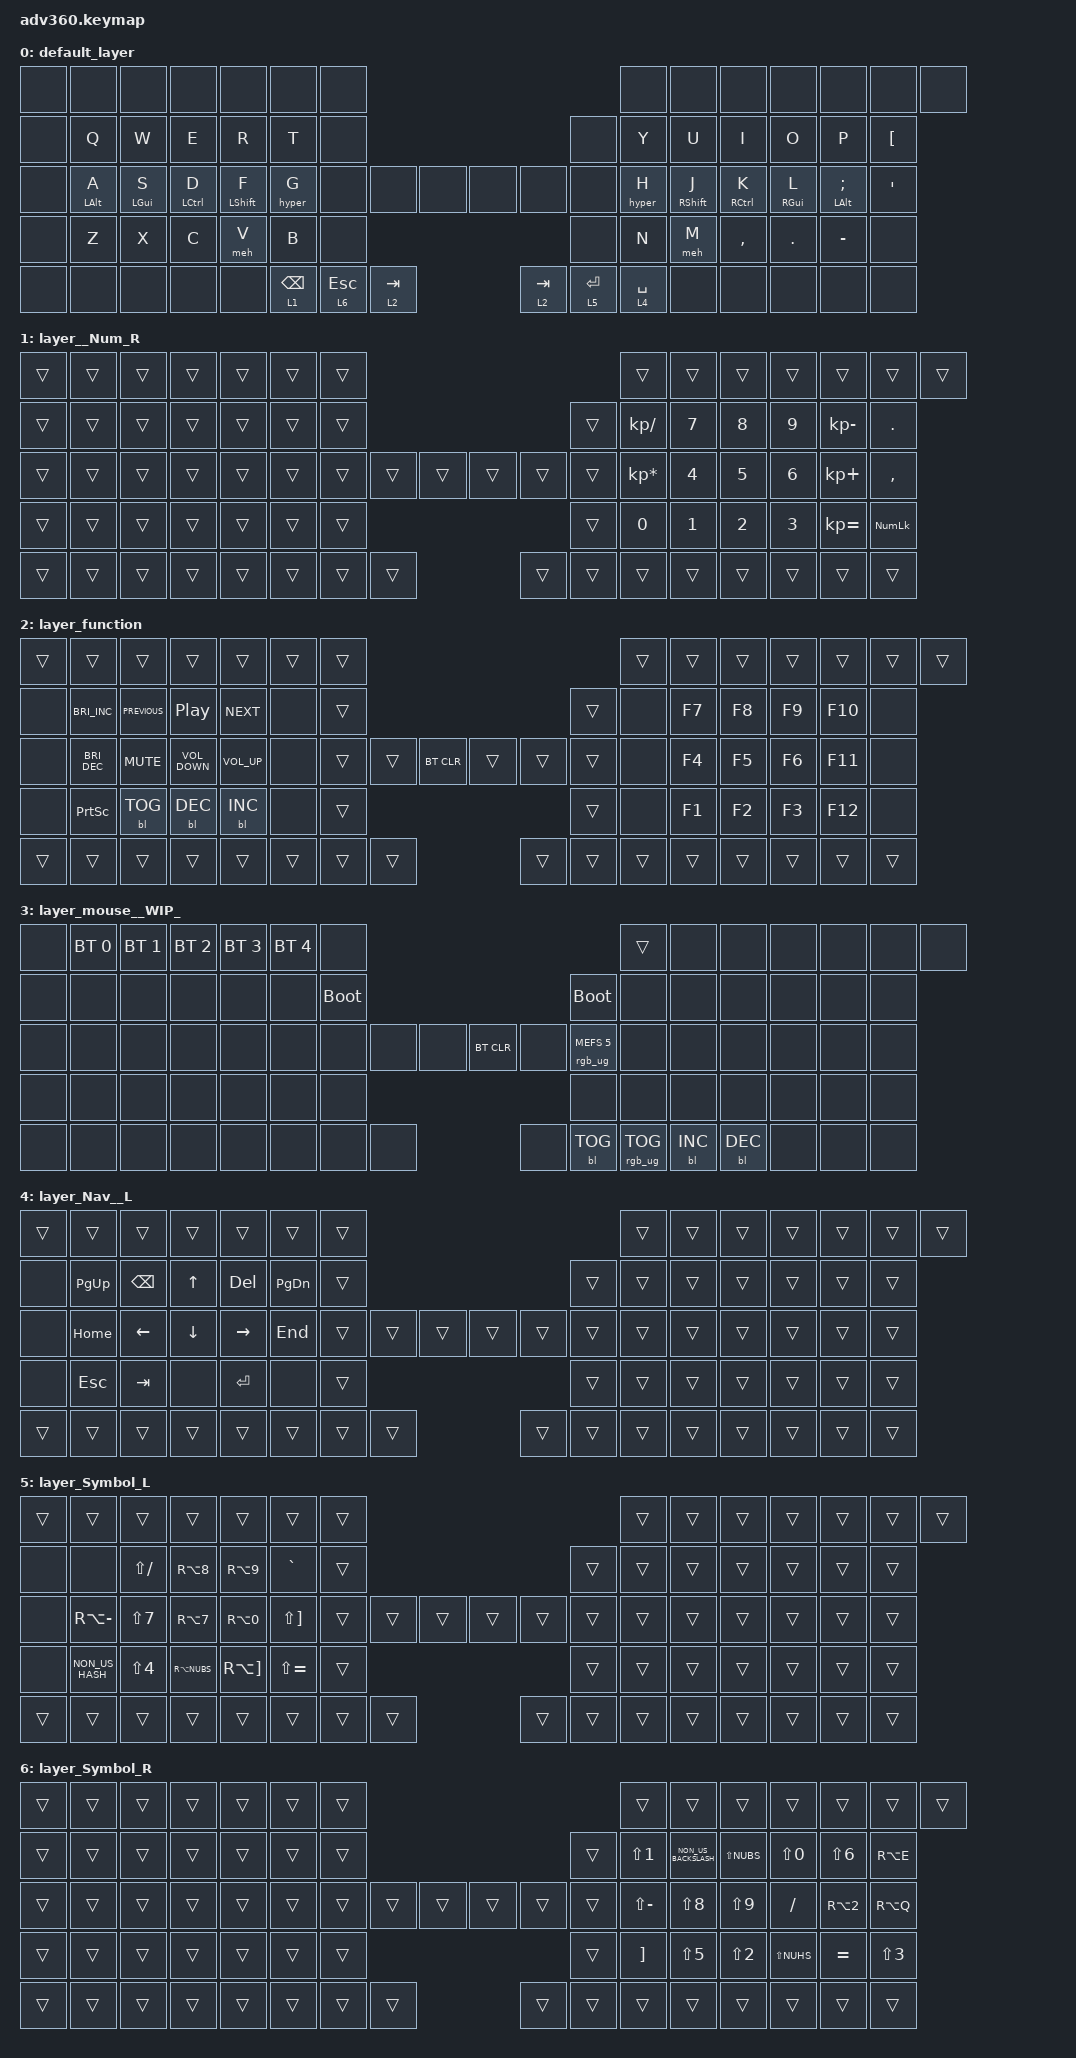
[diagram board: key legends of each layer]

/*
 * Copyright (c) 2020 The ZMK Contributors
 *
 * SPDX-License-Identifier: MIT
 */


/* THIS FILE WAS GENERATED!
 *
 * This file was generated automatically. You may or may not want to
 * edit it directly.
 */

#include <behaviors.dtsi>
#include <dt-bindings/zmk/keys.h>
#include <dt-bindings/zmk/bt.h>
#include <dt-bindings/zmk/backlight.h>
#include <dt-bindings/zmk/rgb.h>

#define hyper (LA(LC(LS(LEFT_GUI))))
#define meh (LA(LC(LEFT_SHIFT)))

&lt {
    tapping-term-ms = <150>;
};

/ {
    behaviors {
      #include "macros.dtsi"
      #include "version.dtsi"
      #ifndef VERSION_MACRO
      macro_ver: macro_ver {
        compatible = "zmk,behavior-macro";
        label = "macro_version";
        #binding-cells = <0>;
        bindings = <&kp RET>;
      };
      #endif

    hm: homerow_mods {
        compatible = "zmk,behavior-hold-tap";
        label = "HOMEROW_MODS";
        #binding-cells = <2>;
        tapping-term-ms = <250>;
        quick_tap_ms = <225>;
        flavor = "tap-preferred";
        bindings = <&kp>, <&kp>;
    };

    hs: homerow_shift {
        compatible = "zmk,behavior-hold-tap";
        label = "HOMEROW_SHIFT";
        #binding-cells = <2>;
        tapping-term-ms = <150>;
        quick_tap_ms = <145>;
        flavor = "tap-preferred";
        bindings = <&kp>, <&kp>;
    };
  };

    keymap {
        compatible = "zmk,keymap";


        default_layer {
            bindings = <
  &none           &none           &none        &none             &none   &none                      &none                                                                      &none   &none         &none        &none            &none                   &none             &none
  &none           &kp Q           &kp W        &kp E             &kp R   &kp T                      &none                                                                      &none   &kp Y         &kp U        &kp I            &kp O                   &kp P  &kp LEFT_BRACKET
  &none  &hm LEFT_ALT A  &hm LEFT_GUI S  &hm LEFT_CONTROL D  &hs LEFT_SHIFT F   &hm hyper G                      &none      &none      &none                      &none        &none        &none   &hm hyper H  &hs RIGHT_SHIFT J  &hm RIGHT_CONTROL K  &hm RIGHT_GUI L  &hm LEFT_ALT SEMICOLON           &kp SQT
  &none           &kp Z           &kp X        &kp C             &hm meh V   &kp B                                            &none                      &none                             &kp N         &hm meh M    &kp COMMA          &kp DOT               &kp MINUS             &none
  &none           &none           &none        &none             &none                    &lt 1 BACKSPACE  &lt 6 ESC  &lt 2 TAB                  &lt 2 TAB  &lt 5 ENTER  &lt 4 SPACE                 &none        &none            &none                   &none             &none
            >;
        };

        layer__Num_R {
            bindings = <
 &trans  &trans  &trans  &trans  &trans  &trans            &trans                                                  &trans           &trans        &trans        &trans        &trans        &trans          &trans
 &trans  &trans  &trans  &trans  &trans  &trans            &trans                                                  &trans    &kp KP_DIVIDE  &kp NUMBER_7  &kp NUMBER_8  &kp NUMBER_9  &kp KP_MINUS         &kp DOT
 &trans  &trans  &trans  &trans  &trans  &trans            &trans  &trans  &trans                  &trans  &trans  &trans  &kp KP_MULTIPLY  &kp NUMBER_4  &kp NUMBER_5  &kp NUMBER_6   &kp KP_PLUS       &kp COMMA
 &trans  &trans  &trans  &trans  &trans  &trans                            &trans                  &trans                     &kp NUMBER_0        &kp N1  &kp NUMBER_2  &kp NUMBER_3  &kp KP_EQUAL  &kp KP_NUMLOCK
 &trans  &trans  &trans  &trans  &trans                    &trans  &trans  &trans                  &trans  &trans  &trans                         &trans        &trans        &trans        &trans          &trans
            >;
        };

        layer_function {
            bindings = <
 &trans                &trans          &trans             &trans           &trans  &trans            &trans                                                      &trans  &trans  &trans  &trans  &trans   &trans  &trans
  &none  &kp C_BRIGHTNESS_INC  &kp C_PREVIOUS   &kp C_PLAY_PAUSE       &kp C_NEXT   &none            &trans                                                      &trans   &none  &kp F7  &kp F8  &kp F9  &kp F10   &none
  &none  &kp C_BRIGHTNESS_DEC      &kp C_MUTE  &kp C_VOLUME_DOWN  &kp C_VOLUME_UP   &none            &trans  &trans  &bt BT_CLR                  &trans  &trans  &trans   &none  &kp F4  &kp F5  &kp F6  &kp F11   &none
  &none       &kp PRINTSCREEN      &bl BL_TOG         &bl BL_DEC       &bl BL_INC   &none                                &trans                  &trans                   &none  &kp F1  &kp F2  &kp F3  &kp F12   &none
 &trans                &trans          &trans             &trans           &trans                    &trans  &trans      &trans                  &trans  &trans  &trans          &trans  &trans  &trans   &trans  &trans
            >;
        };

        layer_mouse__WIP_ {
            bindings = <
  &none  &bt BT_SEL 0  &bt BT_SEL 1  &bt BT_SEL 2  &bt BT_SEL 3  &bt BT_SEL 4                  &none                                                                          &trans   &none       &none       &none   &none   &none   &none
  &none         &none         &none         &none         &none         &none            &bootloader                                                                     &bootloader   &none       &none       &none   &none   &none   &none
  &none         &none         &none         &none         &none         &none                  &none   &none   &none                  &bt BT_CLR       &none  &rgb_ug RGB_MEFS_CMD 5   &none       &none       &none   &none   &none   &none
  &none         &none         &none         &none         &none         &none                                  &none                       &none                                       &none       &none       &none   &none   &none   &none
  &none         &none         &none         &none         &none                                &none   &none   &none                       &none  &bl BL_TOG         &rgb_ug RGB_TOG          &bl BL_INC  &bl BL_DEC   &none   &none   &none
            >;
        };

        layer_Nav__L {
            bindings = <
 &trans       &trans          &trans          &trans           &trans         &trans            &trans                                                  &trans  &trans  &trans  &trans  &trans  &trans  &trans
  &none  &kp PAGE_UP   &kp BACKSPACE    &kp UP_ARROW          &kp DEL  &kp PAGE_DOWN            &trans                                                  &trans  &trans  &trans  &trans  &trans  &trans  &trans
  &none     &kp HOME  &kp LEFT_ARROW  &kp DOWN_ARROW  &kp RIGHT_ARROW        &kp END            &trans  &trans  &trans                  &trans  &trans  &trans  &trans  &trans  &trans  &trans  &trans  &trans
  &none      &kp ESC         &kp TAB           &none        &kp ENTER          &none                            &trans                  &trans                  &trans  &trans  &trans  &trans  &trans  &trans
 &trans       &trans          &trans          &trans           &trans                           &trans  &trans  &trans                  &trans  &trans  &trans          &trans  &trans  &trans  &trans  &trans
            >;
        };

        layer_Symbol_L {
            bindings = <
 &trans           &trans         &trans        &trans                 &trans                 &trans            &trans                                                  &trans  &trans  &trans  &trans  &trans  &trans  &trans
  &none            &none  &kp LS(SLASH)    &kp RA(N8)             &kp RA(N9)              &kp GRAVE            &trans                                                  &trans  &trans  &trans  &trans  &trans  &trans  &trans
  &none    &kp RA(MINUS)     &kp LS(N7)    &kp RA(N7)             &kp RA(N0)  &kp LS(RIGHT_BRACKET)            &trans  &trans  &trans                  &trans  &trans  &trans  &trans  &trans  &trans  &trans  &trans  &trans
  &none  &kp NON_US_HASH     &kp LS(N4)  &kp RA(NUBS)  &kp RA(RIGHT_BRACKET)          &kp LS(EQUAL)                            &trans                  &trans                  &trans  &trans  &trans  &trans  &trans  &trans
 &trans           &trans         &trans        &trans                 &trans                                   &trans  &trans  &trans                  &trans  &trans  &trans          &trans  &trans  &trans  &trans  &trans
            >;
        };

        layer_Symbol_R {
            bindings = <
 &trans  &trans  &trans  &trans  &trans  &trans            &trans                                                  &trans             &trans                &trans        &trans        &trans      &trans      &trans
 &trans  &trans  &trans  &trans  &trans  &trans            &trans                                                  &trans         &kp LS(N1)  &kp NON_US_BACKSLASH  &kp LS(NUBS)    &kp LS(N0)  &kp LS(N6)   &kp RA(E)
 &trans  &trans  &trans  &trans  &trans  &trans            &trans  &trans  &trans                  &trans  &trans  &trans      &kp LS(MINUS)            &kp LS(N8)    &kp LS(N9)     &kp SLASH  &kp RA(N2)   &kp RA(Q)
 &trans  &trans  &trans  &trans  &trans  &trans                            &trans                  &trans                  &kp RIGHT_BRACKET            &kp LS(N5)    &kp LS(N2)  &kp LS(NUHS)   &kp EQUAL  &kp LS(N3)
 &trans  &trans  &trans  &trans  &trans                    &trans  &trans  &trans                  &trans  &trans  &trans                                   &trans        &trans        &trans      &trans      &trans
            >;
        };

    };
};
